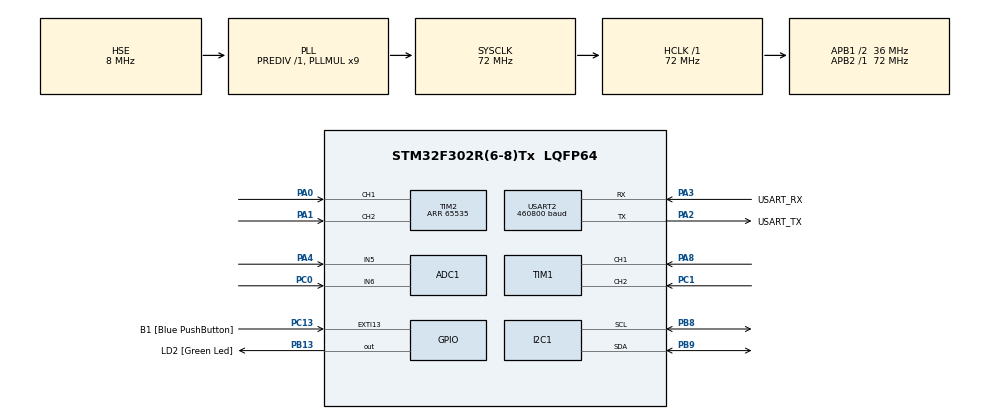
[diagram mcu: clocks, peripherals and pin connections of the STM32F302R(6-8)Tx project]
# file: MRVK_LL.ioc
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ADC1.Channel-0\#ChannelRegularConversion=ADC_CHANNEL_5
ADC1.Channel-1\#ChannelRegularConversion=ADC_CHANNEL_5
ADC1.ClockPrescaler=ADC_CLOCK_SYNC_PCLK_DIV1
ADC1.ContinuousConvMode=ENABLE
ADC1.DMAContinuousRequests=ENABLE
ADC1.NbrOfConversion=2
ADC1.NbrOfConversionFlag=1
ADC1.Offset-0\#ChannelRegularConversion=0
ADC1.Offset-1\#ChannelRegularConversion=0
ADC1.OffsetNumber-0\#ChannelRegularConversion=ADC_OFFSET_NONE
ADC1.OffsetNumber-1\#ChannelRegularConversion=ADC_OFFSET_NONE
ADC1.Rank-0\#ChannelRegularConversion=1
ADC1.Rank-1\#ChannelRegularConversion=2
ADC1.SamplingTime-0\#ChannelRegularConversion=ADC_SAMPLETIME_19CYCLES_5
ADC1.SamplingTime-1\#ChannelRegularConversion=ADC_SAMPLETIME_19CYCLES_5
ADC1.SamplingTimeOPAMP-1\#ChannelRegularConversion=ADC_SAMPLETIME_61CYCLES_5
ADC1.SubFamily=STM32F302x8
ADC1.master=1
Dma.ADC1.2.Direction=DMA_PERIPH_TO_MEMORY
Dma.ADC1.2.Instance=DMA1_Channel1
Dma.ADC1.2.MemDataAlignment=DMA_MDATAALIGN_HALFWORD
Dma.ADC1.2.MemInc=DMA_MINC_ENABLE
Dma.ADC1.2.Mode=DMA_CIRCULAR
Dma.ADC1.2.PeriphDataAlignment=DMA_PDATAALIGN_HALFWORD
Dma.ADC1.2.PeriphInc=DMA_PINC_DISABLE
Dma.ADC1.2.Priority=DMA_PRIORITY_LOW
Dma.Request0=USART2_RX
Dma.Request1=USART2_TX
Dma.Request2=ADC1
Dma.USART2_RX.0.Direction=DMA_PERIPH_TO_MEMORY
Dma.USART2_RX.0.Instance=DMA1_Channel6
Dma.USART2_RX.0.MemDataAlignment=DMA_MDATAALIGN_BYTE
Dma.USART2_RX.0.MemInc=DMA_MINC_ENABLE
Dma.USART2_RX.0.Mode=DMA_CIRCULAR
Dma.USART2_RX.0.PeriphDataAlignment=DMA_PDATAALIGN_BYTE
Dma.USART2_RX.0.PeriphInc=DMA_PINC_DISABLE
Dma.USART2_RX.0.Priority=DMA_PRIORITY_LOW
Dma.USART2_TX.1.Direction=DMA_MEMORY_TO_PERIPH
Dma.USART2_TX.1.Instance=DMA1_Channel7
Dma.USART2_TX.1.MemDataAlignment=DMA_MDATAALIGN_BYTE
Dma.USART2_TX.1.MemInc=DMA_MINC_ENABLE
Dma.USART2_TX.1.Mode=DMA_NORMAL
Dma.USART2_TX.1.PeriphDataAlignment=DMA_PDATAALIGN_BYTE
Dma.USART2_TX.1.PeriphInc=DMA_PINC_DISABLE
Dma.USART2_TX.1.Priority=DMA_PRIORITY_LOW
I2C1.Timing=0x00201D2B
Mcu.Family=STM32F3
Mcu.Name=STM32F302R(6-8)Tx
Mcu.Package=LQFP64
NVIC.DMA1_Channel1_IRQn=true\:0\:0\:false\:false\:true\:false\:true\:true
NVIC.DMA1_Channel6_IRQn=true\:0\:0\:false\:false\:true\:false\:true\:true
NVIC.DMA1_Channel7_IRQn=true\:0\:0\:false\:false\:true\:false\:true\:true
NVIC.PriorityGroup=NVIC_PRIORITYGROUP_0
NVIC.TIM1_BRK_TIM15_IRQn=true\:0\:0\:false\:false\:true\:true\:true\:true
NVIC.TIM6_DAC_IRQn=true\:0\:2\:false\:false\:true\:true\:true\:true
NVIC.USART2_IRQn=true\:0\:0\:false\:false\:true\:true\:true\:true
PA0.Signal=S_TIM2_CH1_ETR
PA1.Signal=S_TIM2_CH2
PA13.GPIO_Label=TMS
PA13.Signal=SYS_JTMS-SWDIO
PA2.GPIO_Label=USART_TX
PA2.GPIO_Mode=GPIO_MODE_AF_PP
PA2.GPIO_PuPd=GPIO_NOPULL
PA2.GPIO_Speed=GPIO_SPEED_FREQ_LOW
PA2.Mode=Asynchronous
PA2.Signal=USART2_TX
PA3.GPIO_Label=USART_RX
PA3.GPIO_Mode=GPIO_MODE_AF_PP
PA3.GPIO_PuPd=GPIO_NOPULL
PA3.GPIO_Speed=GPIO_SPEED_FREQ_LOW
PA3.Mode=Asynchronous
PA3.Signal=USART2_RX
PA4.Mode=IN5-Single-Ended
PA4.Signal=ADC1_IN5
PA8.Signal=S_TIM1_CH1
PB13.GPIO_Label=LD2 [Green Led]
PB13.Signal=GPIO_Output
PB3.GPIO_Label=SWO
PB3.Mode=Trace_Asynchronous_SW
PB3.Signal=SYS_JTDO-TRACESWO
PB8.Mode=I2C
PB8.Signal=I2C1_SCL
PB9.Mode=I2C
PB9.Signal=I2C1_SDA
PC0.Signal=ADCx_IN6
PC1.Signal=S_TIM1_CH2
PC13.GPIO_Label=B1 [Blue PushButton]
PC13.GPIO_ModeDefaultEXTI=GPIO_MODE_IT_FALLING
PC13.Signal=GPXTI13
PC14\ -\ OSC32_IN.Mode=LSE-External-Oscillator
PC14\ -\ OSC32_IN.Signal=RCC_OSC32_IN
PC15\ -\ OSC32_OUT.Mode=LSE-External-Oscillator
PC15\ -\ OSC32_OUT.Signal=RCC_OSC32_OUT
PF0-OSC_IN.Mode=HSE-External-Clock-Source
PF0-OSC_IN.Signal=RCC_OSC_IN
PF1-OSC_OUT.Signal=RCC_OSC_OUT
ProjectManager.HeapSize=0x200
ProjectManager.StackSize=0x400
ProjectManager.TargetToolchain=STM32CubeIDE
RCC.AHBFreq_Value=72000000
RCC.APB1CLKDivider=RCC_HCLK_DIV2
RCC.APB1Freq_Value=36000000
RCC.APB1TimFreq_Value=72000000
RCC.APB2Freq_Value=72000000
RCC.APB2TimFreq_Value=72000000
RCC.CortexFreq_Value=72000000
RCC.HCLKFreq_Value=72000000
RCC.HSE_Timout=8000
RCC.HSE_VALUE=8000000
RCC.HSI_VALUE=8000000
RCC.PLLM=8
RCC.PLLMUL=RCC_PLL_MUL9
RCC.PLLN=336
RCC.PLLP=RCC_PLLP_DIV4
RCC.PLLQ=7
RCC.PLLSourceVirtual=RCC_PLLSOURCE_HSE
RCC.SYSCLKFreq_VALUE=72000000
RCC.SYSCLKSourceVirtual=RCC_SYSCLKSOURCE_PLLCLK
RCC.USBFreq_Value=72000000
SH.ADCx_IN6.0=ADC1_IN6,IN6-Single-Ended
SH.S_TIM1_CH1.0=TIM1_CH1,Encoder_Interface
SH.S_TIM1_CH2.0=TIM1_CH2,Encoder_Interface
SH.S_TIM2_CH1_ETR.0=TIM2_CH1,Encoder_Interface
SH.S_TIM2_CH2.0=TIM2_CH2,Encoder_Interface
TIM1.EncoderMode=TIM_ENCODERMODE_TI12
TIM1.IC1Filter=0
TIM1.IC2Filter=0
TIM2.EncoderMode=TIM_ENCODERMODE_TI12
TIM2.Period=65535
TIM6.Period=99
TIM6.Prescaler=7199
USART2.BaudRate=460800
USART2.VirtualMode-Asynchronous=VM_ASYNC
VP_TIM6_VS_ClockSourceINT.Mode=Enable_Timer
board=NUCLEO-F302R8

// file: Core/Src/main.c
/* USER CODE BEGIN Header */
/**
  ******************************************************************************
  * @file           : main.c
  * @brief          : 100Hz Speed Loop and 50Hz Deterministic Telemetry Stream
  * (Position Control handling offloaded to Jetson)
  ******************************************************************************
  */
/* USER CODE END Header */
#include "main.h"

/* USER CODE BEGIN Includes */
#include <string.h>
/* USER CODE END Includes */

/* USER CODE BEGIN PTD */
#define DIFF_WINDOW 5

typedef struct
{
    float kp;
    float ki;
    float integral;
    float outMin;
    float outMax;
} PI_Controller;

typedef enum {
    STATE_SOF1 = 0,
    STATE_SOF2,
    STATE_SEQ,
    STATE_LEN,
    STATE_PAYLOAD,
    STATE_CRC_H,
    STATE_CRC_L
} ParseState;

typedef struct {
    int16_t enc1;
    int16_t enc2;
    uint8_t status1;
    uint8_t status2;
    uint16_t volt;
    uint16_t curr;
} TelemetrySnapshot;

volatile TelemetrySnapshot snapshot;
/* USER CODE END PTD */

/* USER CODE BEGIN PD */
#define MOTOR1_ADDR      (88<<1)
#define MOTOR2_ADDR      (89<<1)

#define REG_COMMAND      0x00
#define REG_STATUS       0x01
#define REG_SPEED        0x02
#define REG_ACCELERATION 0x03

#define RX_DMA_BUF_SIZE  256
/* USER CODE END PD */

ADC_HandleTypeDef hadc1;
DMA_HandleTypeDef hdma_adc1;

I2C_HandleTypeDef hi2c1;

TIM_HandleTypeDef htim1;
TIM_HandleTypeDef htim2;
TIM_HandleTypeDef htim6;

UART_HandleTypeDef huart2;
DMA_HandleTypeDef hdma_usart2_rx;
DMA_HandleTypeDef hdma_usart2_tx;

/* USER CODE BEGIN PV */
uint16_t u_left = 0;

HAL_StatusTypeDef status;

static int16_t d1_buf[DIFF_WINDOW] = {0};
static int16_t d2_buf[DIFF_WINDOW] = {0};

static uint8_t diff_idx = 0;

static int32_t d1_sum = 0;
static int32_t d2_sum = 0;

volatile int16_t enc1_prev = 0;
volatile int16_t enc2_prev = 0;

volatile int16_t enc1_count = 0;
volatile int16_t enc2_count = 0;

// Targets commanded by the Jetson's 50Hz position loop
volatile float rpm1_setpoint = 0.0f;
volatile float rpm2_setpoint = 0.0f;

volatile uint8_t md1_status = 0;
volatile uint8_t md2_status = 0;

volatile uint16_t adc_raw_buffer[2] = {0, 0};

volatile uint8_t uart_tx_ready = 1;
volatile uint8_t tx_pending = 0;

volatile uint16_t debug_received_crc = 0;
volatile uint16_t debug_computed_crc = 0;

volatile float rmp_g1 = 0;
volatile float rmp_g2 = 0;

volatile int16_t d1_g = 0;
volatile int16_t d2_g = 0;

volatile uint8_t speed_control_flag = 0;

uint8_t dma_rx_buffer[RX_DMA_BUF_SIZE];
uint16_t last_dma_read_ptr = 0;

uint8_t parse_idx = 0;
uint8_t expected_payload_len = 0;
ParseState parser_state = STATE_SOF1;

uint8_t tx_seq_counter = 0;
volatile uint8_t telemetry_loop_counter = 0;
volatile uint32_t uart_rx_led_until = 0;

PI_Controller pi1 = { .kp = 1.0f, .ki = 30.0f, .integral = 0.0f, .outMin = -255.0f, .outMax = 255.0f };
PI_Controller pi2 = { .kp = 1.0f, .ki = 30.0f, .integral = 0.0f, .outMin = -255.0f, .outMax = 255.0f };

static const uint16_t crc16_table[256] = {
    0x0000, 0x1021, 0x2042, 0x3063, 0x4084, 0x50A5, 0x60C6, 0x70E7, 0x8108, 0x9129, 0xA14A, 0xB16B, 0xC18C, 0xD1AD, 0xE1CE, 0xF1EF,
    0x1231, 0x0210, 0x3273, 0x2252, 0x52B5, 0x4294, 0x72F7, 0x62D6, 0x9339, 0x8318, 0xB37B, 0xA35A, 0xD3BD, 0xC39C, 0xF3FF, 0xE3DE,
    0x2462, 0x3443, 0x0420, 0x1401, 0x64E6, 0x74C7, 0x44A4, 0x5485, 0xA56A, 0xB54B, 0x8528, 0x9509, 0xE5EE, 0xF5CF, 0xC5AC, 0xD58D,
    0x3653, 0x2672, 0x1611, 0x0630, 0x76D7, 0x66F6, 0x5695, 0x46B4, 0xB75B, 0xA77A, 0x9719, 0x8738, 0xF7DF, 0xE7FE, 0xD79D, 0xC7BC,
    0x48C4, 0x58E5, 0x6886, 0x78A7, 0x0840, 0x1861, 0x2802, 0x3823, 0xC9CC, 0xD9ED, 0xE98E, 0xF9AF, 0x8948, 0x9969, 0xA90A, 0xB92B,
    0x5AF5, 0x4AD4, 0x7AB7, 0x6A96, 0x1A71, 0x0A50, 0x3A33, 0x2A12, 0xDBFD, 0xCBDC, 0xFBBF, 0xEB9E, 0x9B79, 0x8B58, 0xBB3B, 0xAB1A,
    0x6CA6, 0x7C87, 0x4CE4, 0x5CC5, 0x2C22, 0x3C03, 0x0C60, 0x1C41, 0xEDAE, 0xFD8F, 0xCDEC, 0xDDCD, 0xAD2A, 0xBD0B, 0x8D68, 0x9D49,
    0x7E97, 0x6EB5, 0x5ED5, 0x4EF4, 0x3E13, 0x2E32, 0x1E51, 0x0E70, 0xFF9F, 0xEFBE, 0xDFDD, 0xCFFC, 0xBF1B, 0xAF3A, 0x9F59, 0x8F78,
    0x9188, 0x81A9, 0xB1CA, 0xA1EB, 0xD10C, 0xC12D, 0xF14E, 0xE16F, 0x1080, 0x00A1, 0x30C2, 0x20E3, 0x5004, 0x4025, 0x7046, 0x6067,
    0x83B9, 0x9398, 0xA3FB, 0xB3DA, 0xC33D, 0xD31C, 0xE37F, 0xF35E, 0x02B1, 0x1290, 0x22F3, 0x32D2, 0x0235, 0x1214, 0x2277, 0x3256,
    0xB5EA, 0xA5CB, 0x95A8, 0x8589, 0xF56E, 0xE54F, 0xD52C, 0xC50D, 0x34E2, 0x24C3, 0x14A0, 0x0481, 0x7466, 0x6447, 0x5424, 0x4405,
    0xA7DB, 0xB7FA, 0x8799, 0x97B8, 0xE75F, 0xF77E, 0xC71D, 0xD73C, 0x26D3, 0x36F2, 0x0691, 0x16B0, 0x6657, 0x7676, 0x4615, 0x5634,
    0xD94C, 0xC96D, 0xF90E, 0xE92F, 0x99C8, 0x89E9, 0xB98A, 0xA9AB, 0x5844, 0x4865, 0x7806, 0x6827, 0x18C0, 0x08E1, 0x3882, 0x28A3,
    0xCB7D, 0xDB5C, 0xEBBF, 0xFB9E, 0x8BF9, 0x9BD8, 0xABBB, 0xBB9A, 0x4A75, 0x5A54, 0x6A37, 0x7A16, 0x0AF1, 0x1AD0, 0x2AB3, 0x3A92,
    0xFD2E, 0xED0F, 0xDD6C, 0xCD4D, 0xBDAA, 0xAD8B, 0x9DE8, 0x8DC9, 0x7C26, 0x6C07, 0x5C64, 0x4C45, 0x3CA2, 0x2C83, 0x1CE0, 0x0CC1,
    0xEF1F, 0xFF3E, 0xCF5D, 0xDF7C, 0xAF9B, 0xBFBA, 0x8FD9, 0x9FF8, 0x6E17, 0x7E36, 0x4E54, 0x5E74, 0x2E93, 0x3EB2, 0x0ED1, 0x1EF0
};
/* USER CODE END PV */

void SystemClock_Config(void);
static void MX_GPIO_Init(void);
static void MX_DMA_Init(void);
static void MX_TIM1_Init(void);
static void MX_TIM2_Init(void);
static void MX_USART2_UART_Init(void);
static void MX_I2C1_Init(void);
static void MX_TIM6_Init(void);
static void MX_ADC1_Init(void);
/* USER CODE BEGIN PFP */
uint16_t Compute_CRC16(const uint8_t *data, uint16_t len);
float PI_Update(PI_Controller *pi, float ref, float meas, float dt);
void MD03_Write(uint8_t addr, uint8_t reg, uint8_t value);
uint8_t MD03_ReadStatus(uint8_t addr);
void MD03_SetMotor(uint8_t addr, int16_t command);
void SpeedControlLoop(void);
void ParseValidatedPayload(const uint8_t *payload, uint8_t length);
void ProcessSerialByte(uint8_t byte);
void CheckForInboundPackets(void);
void SendTelemetryToROS(void);
/* USER CODE END PFP */

/* USER CODE BEGIN 0 */
uint16_t Compute_CRC16(const uint8_t *data, uint16_t len) {
    uint16_t crc = 0xFFFF;
    for (uint16_t i = 0; i < len; i++) {
        crc = (crc << 8) ^ crc16_table[((crc >> 8) ^ data[i]) & 0xFF];
    }
    return crc;
}

static inline int16_t MovingAverageDiff(int16_t new_d,
                                         int16_t *buf,
                                         int32_t *sum,
                                         uint8_t idx)
{
    *sum -= buf[idx];
    *sum += new_d;
    buf[idx] = new_d;

    return (int16_t)(*sum / DIFF_WINDOW);
}

float PI_Update(PI_Controller *pi, float ref, float meas, float dt) {
    float error = ref - meas;
//    float p_term = pi->kp * error;
    float p_term = - pi->kp * meas;
    float i_update = error * pi->ki * dt;

    // 1. Calculate tentative total output
    float out = p_term + pi->integral + i_update;

    // 2. Anti-Windup: Conditional Integration
    // If output is saturated AND the error is pushing it further into saturation,
    // do NOT accumulate the integral. Otherwise, integrate normally.
    if ((out > pi->outMax && error > 0) || (out < pi->outMin && error < 0)) {
        // Anti-windup active: do nothing to pi->integral
    } else {
        // Normal operation or pulling out of saturation
        pi->integral += i_update;
    }

    // 3. Optional safety clamp for the integral state itself
//    if (pi->integral > pi->outMax) pi->integral = pi->outMax;
//    if (pi->integral < pi->outMin) pi->integral = pi->outMin;

    // 4. Clamp the final output being sent to the motor
    if (out > pi->outMax) out = pi->outMax;
    if (out < pi->outMin) out = pi->outMin;

    return out;
}

void MD03_Write(uint8_t addr, uint8_t reg, uint8_t value) {
    HAL_I2C_Mem_Write(&hi2c1, addr, reg, I2C_MEMADD_SIZE_8BIT, &value, 1, 10);
}

uint8_t MD03_ReadStatus(uint8_t addr) {
    uint8_t status = 0;
    HAL_I2C_Mem_Read(&hi2c1, addr, REG_STATUS, I2C_MEMADD_SIZE_8BIT, &status, 1, 10);
    return status;
//	return 0;
}

void MD03_SetMotor(uint8_t addr, int16_t command) {
    uint8_t dir = 1;
    if (command < 0) { dir = 2; command = -command; }
    if (command > 255) command = 255;
    MD03_Write(addr, REG_COMMAND, dir);
    MD03_Write(addr, REG_SPEED, (uint8_t)command);
    u_left = command;
}

/* Speed Tracking Engine (Executes at 100Hz inside Hardware Counter Interrupt) */
void SpeedControlLoop(void)
{
    int16_t enc1_now = (int16_t)__HAL_TIM_GET_COUNTER(&htim2);
    int16_t enc2_now = (int16_t)__HAL_TIM_GET_COUNTER(&htim1);

    enc1_count = enc1_now;
    enc2_count = enc2_now;

    int16_t d1_raw = enc1_now - enc1_prev;
    int16_t d2_raw = enc2_now - enc2_prev;

    int16_t d1 = MovingAverageDiff(d1_raw, d1_buf, &d1_sum, diff_idx);
    int16_t d2 = MovingAverageDiff(d2_raw, d2_buf, &d2_sum, diff_idx);

    enc1_prev = enc1_now;
    enc2_prev = enc2_now;

    diff_idx++;
    if (diff_idx >= DIFF_WINDOW)
        diff_idx = 0;

//    float rpm1 = ((float)d1 * 10.0f) / 144.0f;
//    float rpm2 = -((float)d2 * 10.0f) / 144.0f;

    float rpm1 = ((float)d1 * 600) / (144.0f * 66.72);
    float rpm2 = -((float)d2 * 600) / (144.0f * 66.72);

    rmp_g1 = rpm1;
    rmp_g2 = rpm2;

    int16_t out1 = PI_Update(&pi1, rpm1_setpoint, rpm1, 0.01f);
    int16_t out2 = -PI_Update(&pi2, rpm2_setpoint, rpm2, 0.01f);

    MD03_SetMotor(MOTOR1_ADDR, (int16_t)out1);
    MD03_SetMotor(MOTOR2_ADDR, (int16_t)out2);

    md1_status = MD03_ReadStatus(MOTOR1_ADDR);
    md2_status = MD03_ReadStatus(MOTOR2_ADDR);

    snapshot.enc1 = enc1_now;
      snapshot.enc2 = enc2_now;
      snapshot.status1 = md1_status;
      snapshot.status2 = md2_status;
      snapshot.volt = adc_raw_buffer[0];
      snapshot.curr = adc_raw_buffer[1];
}

void ParseValidatedPayload(const uint8_t *payload, uint8_t length) {
    // Process inbound velocity updates sent down from the Jetson's control framework
    if(length == 5 && payload[0] == 0x00) {
        int16_t r1 = (int16_t)((payload[1] << 8) | payload[2]);
        int16_t r2 = (int16_t)((payload[3] << 8) | payload[4]);
        rpm1_setpoint = (float)r1 / 10.0f;
        rpm2_setpoint = (float)r2 / 10.0f;
    }
}

volatile int crc_fail_cnt = 0;
void ProcessSerialByte(uint8_t byte) {
    static uint8_t crc_check_payload[16];
    static uint8_t current_seq = 0;
    static uint16_t received_crc = 0;

    switch (parser_state) {
        case STATE_SOF1:
            if (byte == 0xAA) parser_state = STATE_SOF2;
            break;
        case STATE_SOF2:
            parser_state = (byte == 0x55) ? STATE_SEQ : STATE_SOF1;
            break;
        case STATE_SEQ:
            current_seq = byte;
            parser_state = STATE_LEN;
            break;
        case STATE_LEN:
            expected_payload_len = byte;
            if (expected_payload_len <= 12) {
                parse_idx = 0;
                parser_state = (expected_payload_len == 0) ? STATE_CRC_H : STATE_PAYLOAD;
            } else {
                parser_state = STATE_SOF1;
            }
            break;
        case STATE_PAYLOAD:
            crc_check_payload[parse_idx++] = byte;
            if (parse_idx >= expected_payload_len) parser_state = STATE_CRC_H;
            break;
        case STATE_CRC_H:
            received_crc = (byte << 8);
            parser_state = STATE_CRC_L;
            break;
        case STATE_CRC_L:
            received_crc |= byte;

            uint8_t verification_buf[20];
            verification_buf[0] = current_seq;
            verification_buf[1] = expected_payload_len;
            memcpy(&verification_buf[2], crc_check_payload, expected_payload_len);

            debug_received_crc = received_crc;
            debug_computed_crc = Compute_CRC16(verification_buf, expected_payload_len + 2);

            if (debug_received_crc == debug_computed_crc) {
                ParseValidatedPayload(crc_check_payload, expected_payload_len);
            }
            else
            {
            	crc_fail_cnt++;
            }
            parser_state = STATE_SOF1;
            break;
    }
}

void CheckForInboundPackets(void) {
	if (__HAL_UART_GET_FLAG(&huart2, UART_FLAG_ORE) ||
	__HAL_UART_GET_FLAG(&huart2, UART_FLAG_FE) ||
	__HAL_UART_GET_FLAG(&huart2, UART_FLAG_NE)) {
		// Clear all error flags
		__HAL_UART_CLEAR_PEFLAG(&huart2);
		__HAL_UART_CLEAR_FEFLAG(&huart2);
		__HAL_UART_CLEAR_NEFLAG(&huart2);
		__HAL_UART_CLEAR_OREFLAG(&huart2);
		// IMPORTANT: Must restart DMA to resume receiving
		HAL_UART_DMAStop(&huart2);
		HAL_UART_Receive_DMA(&huart2, dma_rx_buffer, RX_DMA_BUF_SIZE);
		// Reset your read pointer since the stream was interrupted
		last_dma_read_ptr = 0;
	}

    uint16_t current_dma_write_ptr = RX_DMA_BUF_SIZE - __HAL_DMA_GET_COUNTER(&hdma_usart2_rx);

    while (last_dma_read_ptr != current_dma_write_ptr) {
    	uint8_t byte_to_process = dma_rx_buffer[last_dma_read_ptr];
        ProcessSerialByte(byte_to_process);
        last_dma_read_ptr = (last_dma_read_ptr + 1) % RX_DMA_BUF_SIZE;

        // UART RX indication
        HAL_GPIO_WritePin(LD2_GPIO_Port, LD2_Pin, GPIO_PIN_SET);
        uart_rx_led_until = HAL_GetTick() + 80;   // keep LED on 80 ms
    }
}

static inline void CaptureSnapshot(void)
{
    TelemetrySnapshot tmp;

    __disable_irq();
    tmp.enc1 = enc1_count;
    tmp.enc2 = enc2_count;
    tmp.status1 = md1_status;
    tmp.status2 = md2_status;
    tmp.volt = adc_raw_buffer[0];
    tmp.curr = adc_raw_buffer[1];
    __enable_irq();

    snapshot = tmp;   // single atomic struct copy
}

/* Streams telemetry values over UART DMA directly inside the 50Hz interrupt phase */
void SendTelemetryToROS(void)
{
    if (!uart_tx_ready)
        return;

    uart_tx_ready = 0;

    static uint8_t tx_frame[16];

//    TelemetrySnapshot s = snapshot;  // atomic read (single copy)

    TelemetrySnapshot s;
    s = snapshot;

    tx_frame[0] = 0xAA;
    tx_frame[1] = 0x55;
    tx_frame[2] = tx_seq_counter++;

    tx_frame[3] = 10;

    tx_frame[4] = (s.enc1 >> 8) & 0xFF;
    tx_frame[5] = s.enc1 & 0xFF;

    tx_frame[6] = (s.enc2 >> 8) & 0xFF;
    tx_frame[7] = s.enc2 & 0xFF;

    tx_frame[8] = s.status1;
    tx_frame[9] = s.status2;

    tx_frame[10] = (s.volt >> 8) & 0xFF;
    tx_frame[11] = s.volt & 0xFF;

    tx_frame[12] = (s.curr >> 8) & 0xFF;
    tx_frame[13] = s.curr & 0xFF;

    uint16_t crc = Compute_CRC16(&tx_frame[2], 12);

    tx_frame[14] = (crc >> 8) & 0xFF;
    tx_frame[15] = crc & 0xFF;

    HAL_UART_Transmit_DMA(&huart2, tx_frame, 16);
}

/* Master Hardware ISR router */
void HAL_TIM_PeriodElapsedCallback(TIM_HandleTypeDef *htim)
{
    if(htim->Instance == TIM6)
    {
        // 1. Core loop steps at 100 Hz
    	speed_control_flag = 1;
//        SpeedControlLoop();

        CaptureSnapshot();   // <-- ADD THIS HERE

        if (++telemetry_loop_counter >= 2) {
               telemetry_loop_counter = 0;
               tx_pending = 1;
           }
    }
}
/* USER CODE END 0 */

int main(void)
{

  /* MCU Configuration--------------------------------------------------------*/

  /* Reset of all peripherals, Initializes the Flash interface and the Systick. */
  HAL_Init();

  /* Configure the system clock */
  SystemClock_Config();

  /* Initialize all configured peripherals */
  MX_GPIO_Init();
  MX_DMA_Init();
  MX_TIM1_Init();
  MX_TIM2_Init();
  MX_USART2_UART_Init();
  MX_I2C1_Init();
  MX_TIM6_Init();
  MX_ADC1_Init();
  /* USER CODE BEGIN 2 */

//  while(HAL_GPIO_ReadPin(B1_GPIO_Port, B1_Pin) != 0);
  HAL_Delay(10000);

  HAL_NVIC_SetPriority(TIM6_DAC_IRQn, 1, 0);
  HAL_NVIC_EnableIRQ(TIM6_DAC_IRQn);

  HAL_TIM_Encoder_Start(&htim1, TIM_CHANNEL_ALL);
  HAL_TIM_Encoder_Start(&htim2, TIM_CHANNEL_ALL);
  HAL_TIM_Base_Start_IT(&htim6);

//  HAL_ADC_Start_DMA(&hadc1, (uint32_t*)adc_raw_buffer, 2);
  HAL_UART_DMAStop(&huart2);
  memset(dma_rx_buffer, 0, RX_DMA_BUF_SIZE);
  last_dma_read_ptr = 0;
  parser_state = STATE_SOF1;
  status = HAL_UART_Receive_DMA(&huart2, dma_rx_buffer, RX_DMA_BUF_SIZE);
  MD03_Write(MOTOR1_ADDR, REG_ACCELERATION, 0);
  MD03_Write(MOTOR2_ADDR, REG_ACCELERATION, 0);

  uint32_t lastTime = 0;
  uint8_t reg_state = 0;
  /* USER CODE END 2 */

  /* Infinite loop */
  /* USER CODE BEGIN WHILE */
  while (1)
  {
	  CheckForInboundPackets();
	  if (tx_pending && uart_tx_ready) {
	      tx_pending = 0;
	      SendTelemetryToROS();
	  }

	  if(speed_control_flag)
	  {
		  SpeedControlLoop();
		  speed_control_flag = 0;
	  }

	  // Turn LED off after timeout
	  if ((int32_t)(HAL_GetTick() - uart_rx_led_until) >= 0)
	  {
		  HAL_GPIO_WritePin(LD2_GPIO_Port, LD2_Pin, GPIO_PIN_RESET);
	  }

//	  if ((HAL_GetTick() - lastTime) >= 2000)   // 2000 ms = 2 seconds
//	  {
//		  lastTime = HAL_GetTick();
//		  if(reg_state++ > 3) reg_state = 0;
//		  // Code executed every 2 seconds
//	  }
//
//	  switch(reg_state)
//	  {
//	  case 0:
//	  case 2:
//		  rpm1_setpoint = 0;
//		  rpm2_setpoint = 0;
//		  break;
//	  case 1:
//		  rpm1_setpoint = rpm2_setpoint = 80;
//		  break;
//	  case 3:
//		  rpm1_setpoint = rpm2_setpoint = -80;
//		  break;
//	  }
    /* USER CODE END WHILE */

  }
}

void SystemClock_Config(void)
{
  RCC_OscInitTypeDef RCC_OscInitStruct = {0};
  RCC_ClkInitTypeDef RCC_ClkInitStruct = {0};
  RCC_PeriphCLKInitTypeDef PeriphClkInit = {0};

  /** Initializes the RCC Oscillators according to the specified parameters
  * in the RCC_OscInitTypeDef structure.
  */
  RCC_OscInitStruct.OscillatorType = RCC_OSCILLATORTYPE_HSI|RCC_OSCILLATORTYPE_HSE;
  RCC_OscInitStruct.HSEState = RCC_HSE_BYPASS;
  RCC_OscInitStruct.HSEPredivValue = RCC_HSE_PREDIV_DIV1;
  RCC_OscInitStruct.HSIState = RCC_HSI_ON;
  RCC_OscInitStruct.HSICalibrationValue = RCC_HSICALIBRATION_DEFAULT;
  RCC_OscInitStruct.PLL.PLLState = RCC_PLL_ON;
  RCC_OscInitStruct.PLL.PLLSource = RCC_PLLSOURCE_HSE;
  RCC_OscInitStruct.PLL.PLLMUL = RCC_PLL_MUL9;
  if (HAL_RCC_OscConfig(&RCC_OscInitStruct) != HAL_OK)
  {
    Error_Handler();
  }

  /** Initializes the CPU, AHB and APB buses clocks
  */
  RCC_ClkInitStruct.ClockType = RCC_CLOCKTYPE_HCLK|RCC_CLOCKTYPE_SYSCLK
                              |RCC_CLOCKTYPE_PCLK1|RCC_CLOCKTYPE_PCLK2;
  RCC_ClkInitStruct.SYSCLKSource = RCC_SYSCLKSOURCE_PLLCLK;
  RCC_ClkInitStruct.AHBCLKDivider = RCC_SYSCLK_DIV1;
  RCC_ClkInitStruct.APB1CLKDivider = RCC_HCLK_DIV2;
  RCC_ClkInitStruct.APB2CLKDivider = RCC_HCLK_DIV1;

  if (HAL_RCC_ClockConfig(&RCC_ClkInitStruct, FLASH_LATENCY_2) != HAL_OK)
  {
    Error_Handler();
  }
  PeriphClkInit.PeriphClockSelection = RCC_PERIPHCLK_I2C1|RCC_PERIPHCLK_TIM1;
  PeriphClkInit.I2c1ClockSelection = RCC_I2C1CLKSOURCE_HSI;
  PeriphClkInit.Tim1ClockSelection = RCC_TIM1CLK_HCLK;
  if (HAL_RCCEx_PeriphCLKConfig(&PeriphClkInit) != HAL_OK)
  {
    Error_Handler();
  }
}

static void MX_ADC1_Init(void)
{

  ADC_ChannelConfTypeDef sConfig = {0};

  /** Common config
  */
  hadc1.Instance = ADC1;
  hadc1.Init.ClockPrescaler = ADC_CLOCK_SYNC_PCLK_DIV1;
  hadc1.Init.Resolution = ADC_RESOLUTION_12B;
  hadc1.Init.ScanConvMode = ADC_SCAN_ENABLE;
  hadc1.Init.ContinuousConvMode = ENABLE;
  hadc1.Init.DiscontinuousConvMode = DISABLE;
  hadc1.Init.ExternalTrigConvEdge = ADC_EXTERNALTRIGCONVEDGE_NONE;
  hadc1.Init.ExternalTrigConv = ADC_SOFTWARE_START;
  hadc1.Init.DataAlign = ADC_DATAALIGN_RIGHT;
  hadc1.Init.NbrOfConversion = 2;
  hadc1.Init.DMAContinuousRequests = ENABLE;
  hadc1.Init.EOCSelection = ADC_EOC_SINGLE_CONV;
  hadc1.Init.LowPowerAutoWait = DISABLE;
  hadc1.Init.Overrun = ADC_OVR_DATA_OVERWRITTEN;
  if (HAL_ADC_Init(&hadc1) != HAL_OK)
  {
    Error_Handler();
  }

  /** Configure Regular Channel
  */
  sConfig.Channel = ADC_CHANNEL_5;
  sConfig.Rank = ADC_REGULAR_RANK_1;
  sConfig.SingleDiff = ADC_SINGLE_ENDED;
  sConfig.SamplingTime = ADC_SAMPLETIME_19CYCLES_5;
  sConfig.OffsetNumber = ADC_OFFSET_NONE;
  sConfig.Offset = 0;
  if (HAL_ADC_ConfigChannel(&hadc1, &sConfig) != HAL_OK)
  {
    Error_Handler();
  }

  /** Configure Regular Channel
  */
  sConfig.Rank = ADC_REGULAR_RANK_2;
  if (HAL_ADC_ConfigChannel(&hadc1, &sConfig) != HAL_OK)
  {
    Error_Handler();
  }

}

static void MX_I2C1_Init(void)
{

  hi2c1.Instance = I2C1;
  hi2c1.Init.Timing = 0x00201D2B;
  hi2c1.Init.OwnAddress1 = 0;
  hi2c1.Init.AddressingMode = I2C_ADDRESSINGMODE_7BIT;
  hi2c1.Init.DualAddressMode = I2C_DUALADDRESS_DISABLE;
  hi2c1.Init.OwnAddress2 = 0;
  hi2c1.Init.OwnAddress2Masks = I2C_OA2_NOMASK;
  hi2c1.Init.GeneralCallMode = I2C_GENERALCALL_DISABLE;
  hi2c1.Init.NoStretchMode = I2C_NOSTRETCH_DISABLE;
  if (HAL_I2C_Init(&hi2c1) != HAL_OK)
  {
    Error_Handler();
  }

  /** Configure Analogue filter
  */
  if (HAL_I2CEx_ConfigAnalogFilter(&hi2c1, I2C_ANALOGFILTER_ENABLE) != HAL_OK)
  {
    Error_Handler();
  }

  /** Configure Digital filter
  */
  if (HAL_I2CEx_ConfigDigitalFilter(&hi2c1, 0) != HAL_OK)
  {
    Error_Handler();
  }

}

static void MX_TIM1_Init(void)
{

  TIM_Encoder_InitTypeDef sConfig = {0};
  TIM_MasterConfigTypeDef sMasterConfig = {0};

  htim1.Instance = TIM1;
  htim1.Init.Prescaler = 0;
  htim1.Init.CounterMode = TIM_COUNTERMODE_UP;
  htim1.Init.Period = 65535;
  htim1.Init.ClockDivision = TIM_CLOCKDIVISION_DIV1;
  htim1.Init.RepetitionCounter = 0;
  htim1.Init.AutoReloadPreload = TIM_AUTORELOAD_PRELOAD_DISABLE;
  sConfig.EncoderMode = TIM_ENCODERMODE_TI12;
  sConfig.IC1Polarity = TIM_ICPOLARITY_RISING;
  sConfig.IC1Selection = TIM_ICSELECTION_DIRECTTI;
  sConfig.IC1Prescaler = TIM_ICPSC_DIV1;
  sConfig.IC1Filter = 0;
  sConfig.IC2Polarity = TIM_ICPOLARITY_RISING;
  sConfig.IC2Selection = TIM_ICSELECTION_DIRECTTI;
  sConfig.IC2Prescaler = TIM_ICPSC_DIV1;
  sConfig.IC2Filter = 0;
  if (HAL_TIM_Encoder_Init(&htim1, &sConfig) != HAL_OK)
  {
    Error_Handler();
  }
  sMasterConfig.MasterOutputTrigger = TIM_TRGO_RESET;
  sMasterConfig.MasterOutputTrigger2 = TIM_TRGO2_RESET;
  sMasterConfig.MasterSlaveMode = TIM_MASTERSLAVEMODE_DISABLE;
  if (HAL_TIMEx_MasterConfigSynchronization(&htim1, &sMasterConfig) != HAL_OK)
  {
    Error_Handler();
  }

}

static void MX_TIM2_Init(void)
{

  TIM_Encoder_InitTypeDef sConfig = {0};
  TIM_MasterConfigTypeDef sMasterConfig = {0};

  htim2.Instance = TIM2;
  htim2.Init.Prescaler = 0;
  htim2.Init.CounterMode = TIM_COUNTERMODE_UP;
  htim2.Init.Period = 65535;
  htim2.Init.ClockDivision = TIM_CLOCKDIVISION_DIV1;
  htim2.Init.AutoReloadPreload = TIM_AUTORELOAD_PRELOAD_DISABLE;
  sConfig.EncoderMode = TIM_ENCODERMODE_TI12;
  sConfig.IC1Polarity = TIM_ICPOLARITY_RISING;
  sConfig.IC1Selection = TIM_ICSELECTION_DIRECTTI;
  sConfig.IC1Prescaler = TIM_ICPSC_DIV1;
  sConfig.IC1Filter = 0;
  sConfig.IC2Polarity = TIM_ICPOLARITY_RISING;
  sConfig.IC2Selection = TIM_ICSELECTION_DIRECTTI;
  sConfig.IC2Prescaler = TIM_ICPSC_DIV1;
  sConfig.IC2Filter = 0;
  if (HAL_TIM_Encoder_Init(&htim2, &sConfig) != HAL_OK)
  {
    Error_Handler();
  }
  sMasterConfig.MasterOutputTrigger = TIM_TRGO_RESET;
  sMasterConfig.MasterSlaveMode = TIM_MASTERSLAVEMODE_DISABLE;
  if (HAL_TIMEx_MasterConfigSynchronization(&htim2, &sMasterConfig) != HAL_OK)
  {
    Error_Handler();
  }

}

static void MX_TIM6_Init(void)
{

  TIM_MasterConfigTypeDef sMasterConfig = {0};

  htim6.Instance = TIM6;
  htim6.Init.Prescaler = 7199;
  htim6.Init.CounterMode = TIM_COUNTERMODE_UP;
  htim6.Init.Period = 99;
  htim6.Init.AutoReloadPreload = TIM_AUTORELOAD_PRELOAD_DISABLE;
  if (HAL_TIM_Base_Init(&htim6) != HAL_OK)
  {
    Error_Handler();
  }
  sMasterConfig.MasterOutputTrigger = TIM_TRGO_RESET;
  sMasterConfig.MasterSlaveMode = TIM_MASTERSLAVEMODE_DISABLE;
  if (HAL_TIMEx_MasterConfigSynchronization(&htim6, &sMasterConfig) != HAL_OK)
  {
    Error_Handler();
  }

}

static void MX_USART2_UART_Init(void)
{

  huart2.Instance = USART2;
  huart2.Init.BaudRate = 460800;
  huart2.Init.WordLength = UART_WORDLENGTH_8B;
  huart2.Init.StopBits = UART_STOPBITS_1;
  huart2.Init.Parity = UART_PARITY_NONE;
  huart2.Init.Mode = UART_MODE_TX_RX;
  huart2.Init.HwFlowCtl = UART_HWCONTROL_NONE;
  huart2.Init.OverSampling = UART_OVERSAMPLING_16;
  huart2.Init.OneBitSampling = UART_ONE_BIT_SAMPLE_DISABLE;
  huart2.AdvancedInit.AdvFeatureInit = UART_ADVFEATURE_NO_INIT;
  if (HAL_UART_Init(&huart2) != HAL_OK)
  {
    Error_Handler();
  }

}

static void MX_DMA_Init(void)
{

  /* DMA controller clock enable */
  __HAL_RCC_DMA1_CLK_ENABLE();

  /* DMA interrupt init */
  /* DMA1_Channel1_IRQn interrupt configuration */
  HAL_NVIC_SetPriority(DMA1_Channel1_IRQn, 0, 0);
  HAL_NVIC_EnableIRQ(DMA1_Channel1_IRQn);
  /* DMA1_Channel6_IRQn interrupt configuration */
  HAL_NVIC_SetPriority(DMA1_Channel6_IRQn, 0, 0);
  HAL_NVIC_EnableIRQ(DMA1_Channel6_IRQn);
  /* DMA1_Channel7_IRQn interrupt configuration */
  HAL_NVIC_SetPriority(DMA1_Channel7_IRQn, 0, 0);
  HAL_NVIC_EnableIRQ(DMA1_Channel7_IRQn);

}

static void MX_GPIO_Init(void)
{
  GPIO_InitTypeDef GPIO_InitStruct = {0};

  /* GPIO Ports Clock Enable */
  __HAL_RCC_GPIOC_CLK_ENABLE();
  __HAL_RCC_GPIOF_CLK_ENABLE();
  __HAL_RCC_GPIOA_CLK_ENABLE();
  __HAL_RCC_GPIOB_CLK_ENABLE();

  /*Configure GPIO pin Output Level */
  HAL_GPIO_WritePin(LD2_GPIO_Port, LD2_Pin, GPIO_PIN_RESET);

  /*Configure GPIO pin : B1_Pin */
  GPIO_InitStruct.Pin = B1_Pin;
  GPIO_InitStruct.Mode = GPIO_MODE_IT_FALLING;
  GPIO_InitStruct.Pull = GPIO_NOPULL;
  HAL_GPIO_Init(B1_GPIO_Port, &GPIO_InitStruct);

  /*Configure GPIO pin : LD2_Pin */
  GPIO_InitStruct.Pin = LD2_Pin;
  GPIO_InitStruct.Mode = GPIO_MODE_OUTPUT_PP;
  GPIO_InitStruct.Pull = GPIO_NOPULL;
  GPIO_InitStruct.Speed = GPIO_SPEED_FREQ_LOW;
  HAL_GPIO_Init(LD2_GPIO_Port, &GPIO_InitStruct);

}

/* USER CODE BEGIN 4 */
void HAL_UART_TxCpltCallback(UART_HandleTypeDef *huart)
{
    if (huart->Instance == USART2)
    {
        uart_tx_ready = 1;
    }
}
/* USER CODE END 4 */

void Error_Handler(void)
{
  __disable_irq();
  while (1)
  {
  }
}
